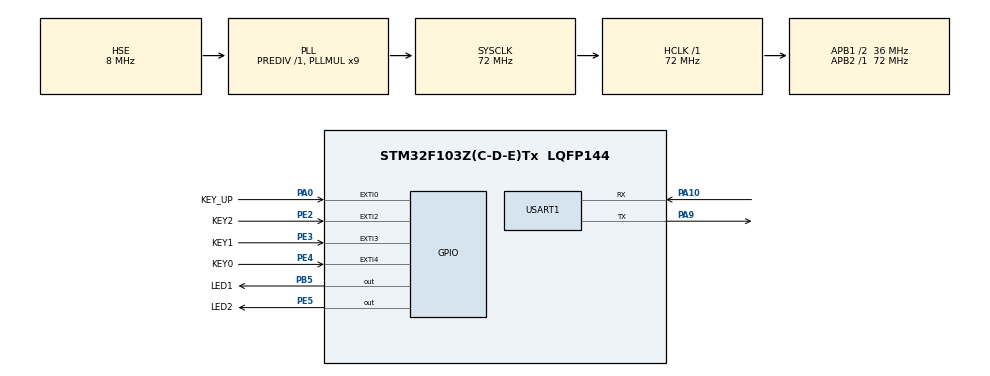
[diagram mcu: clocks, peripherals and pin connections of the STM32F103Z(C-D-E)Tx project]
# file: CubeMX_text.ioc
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FREERTOS.Tasks01=defaultTask,0,128,StartDefaultTask,Default,NULL,Dynamic,NULL,NULL
Mcu.Family=STM32F1
Mcu.Name=STM32F103Z(C-D-E)Tx
Mcu.Package=LQFP144
NVIC.EXTI0_IRQn=true\:14\:0\:true\:false\:true\:true\:true\:true\:true
NVIC.EXTI2_IRQn=true\:14\:0\:true\:false\:true\:true\:true\:true\:true
NVIC.EXTI3_IRQn=true\:14\:0\:true\:false\:true\:true\:true\:true\:true
NVIC.EXTI4_IRQn=true\:14\:0\:true\:false\:true\:true\:true\:true\:true
NVIC.PVD_IRQn=true\:14\:0\:true\:false\:true\:true\:true\:true\:true
NVIC.PriorityGroup=NVIC_PRIORITYGROUP_4
NVIC.TIM6_IRQn=true\:14\:0\:true\:false\:true\:true\:true\:true\:true
NVIC.TIM7_IRQn=true\:15\:0\:false\:false\:true\:false\:false\:true\:true
NVIC.TimeBase=TIM7_IRQn
NVIC.TimeBaseIP=TIM7
NVIC.USART1_IRQn=true\:10\:0\:true\:false\:true\:true\:true\:true\:true
OSC_IN.Mode=HSE-External-Oscillator
OSC_IN.Signal=RCC_OSC_IN
OSC_OUT.Mode=HSE-External-Oscillator
OSC_OUT.Signal=RCC_OSC_OUT
PA0-WKUP.GPIO_Label=KEY_UP
PA0-WKUP.GPIO_PuPd=GPIO_PULLDOWN
PA0-WKUP.Signal=GPXTI0
PA10.Mode=Asynchronous
PA10.Signal=USART1_RX
PA13.Mode=Serial_Wire
PA13.Signal=SYS_JTMS-SWDIO
PA14.Mode=Serial_Wire
PA14.Signal=SYS_JTCK-SWCLK
PA9.Mode=Asynchronous
PA9.Signal=USART1_TX
PB5.GPIO_Label=LED1
PB5.Signal=GPIO_Output
PE2.GPIO_Label=KEY2
PE2.GPIO_ModeDefaultEXTI=GPIO_MODE_IT_FALLING
PE2.GPIO_PuPd=GPIO_PULLUP
PE2.Signal=GPXTI2
PE3.GPIO_Label=KEY1
PE3.GPIO_ModeDefaultEXTI=GPIO_MODE_IT_FALLING
PE3.GPIO_PuPd=GPIO_PULLUP
PE3.Signal=GPXTI3
PE4.GPIO_Label=KEY0
PE4.GPIO_ModeDefaultEXTI=GPIO_MODE_IT_FALLING
PE4.GPIO_PuPd=GPIO_PULLUP
PE4.Signal=GPXTI4
PE5.GPIO_Label=LED2
PE5.Signal=GPIO_Output
ProjectManager.HeapSize=0x200
ProjectManager.StackSize=0x400
ProjectManager.TargetToolchain=MDK-ARM V5.32
RCC.AHBFreq_Value=72000000
RCC.APB1CLKDivider=RCC_HCLK_DIV2
RCC.APB1Freq_Value=36000000
RCC.APB1TimFreq_Value=72000000
RCC.APB2Freq_Value=72000000
RCC.APB2TimFreq_Value=72000000
RCC.HCLKFreq_Value=72000000
RCC.PLLMUL=RCC_PLL_MUL9
RCC.PLLSourceVirtual=RCC_PLLSOURCE_HSE
RCC.SYSCLKFreq_VALUE=72000000
RCC.SYSCLKSource=RCC_SYSCLKSOURCE_PLLCLK
RCC.USBFreq_Value=72000000
RTC.Date=30
RTC.Hours=21
RTC.Minutes=33
RTC.Month=RTC_MONTH_NOVEMBER
RTC.WeekDay=RTC_WEEKDAY_THURSDAY
RTC.Year=23
TIM6.Period=1000
TIM6.Prescaler=71
USART1.VirtualMode=VM_ASYNC
VP_FREERTOS_VS_CMSIS_V1.Mode=CMSIS_V1
VP_RTC_VS_RTC_Activate.Mode=RTC_Enabled
VP_RTC_VS_RTC_Calendar.Mode=RTC_Calendar
VP_SYS_VS_tim7.Mode=TIM7
VP_TIM6_VS_ClockSourceINT.Mode=Enable_Timer
board=custom

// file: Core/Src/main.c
/* USER CODE BEGIN Header */
/**
  ******************************************************************************
  * @file           : main.c
  * @brief          : Main program body
  ******************************************************************************
  * @attention
  *
  * Copyright (c) 2023 STMicroelectronics.
  * All rights reserved.
  *
  * This software is licensed under terms that can be found in the LICENSE file
  * in the root directory of this software component.
  * If no LICENSE file comes with this software, it is provided AS-IS.
  *
  ******************************************************************************
  */
/* USER CODE END Header */
#include "main.h"
#include "cmsis_os.h"
#include "rtc.h"
#include "tim.h"
#include "usart.h"
#include "gpio.h"

/* USER CODE BEGIN Includes */
#include "stdio.h"
/* USER CODE END Includes */

void SystemClock_Config(void);
void MX_FREERTOS_Init(void);

int main(void)
{

  /* MCU Configuration--------------------------------------------------------*/

  /* Reset of all peripherals, Initializes the Flash interface and the Systick. */
  HAL_Init();

  /* Configure the system clock */
  SystemClock_Config();

  /* Initialize all configured peripherals */
  MX_GPIO_Init();
  MX_USART1_UART_Init();
  MX_TIM6_Init();
  MX_RTC_Init();
  /* USER CODE BEGIN 2 */

	User_Key_Init();

  /* USER CODE END 2 */

  /* Call init function for freertos objects (in freertos.c) */
  MX_FREERTOS_Init();

  /* Start scheduler */
  osKernelStart();

  /* We should never get here as control is now taken by the scheduler */
  /* Infinite loop */
  while (1)
  {

    /* USER CODE BEGIN 3 */
//		HAL_RTC_GetTime(&hrtc,&RtcTime,RTC_FORMAT_BIN);
//		HAL_RTC_GetDate(&hrtc,&RtcDate,RTC_FORMAT_BIN);
//		HAL_GPIO_TogglePin(LED2_GPIO_Port, LED2_Pin);   //对LED2管脚的电平进行翻�?	也可以用HAL_GPIO_WritePin函数进行设置高低电平
//		printf("%4d-%d-%d %d:%d:%d\r\n",RtcDate.Year+2000,RtcDate.Month,RtcDate.Date,RtcTime.Hours,RtcTime.Minutes,RtcTime.Seconds);
//		HAL_Delay(1000);
  }
  /* USER CODE END 3 */
}

void SystemClock_Config(void)
{
  RCC_OscInitTypeDef RCC_OscInitStruct = {0};
  RCC_ClkInitTypeDef RCC_ClkInitStruct = {0};
  RCC_PeriphCLKInitTypeDef PeriphClkInit = {0};

  /** Initializes the RCC Oscillators according to the specified parameters
  * in the RCC_OscInitTypeDef structure.
  */
  RCC_OscInitStruct.OscillatorType = RCC_OSCILLATORTYPE_LSI|RCC_OSCILLATORTYPE_HSE;
  RCC_OscInitStruct.HSEState = RCC_HSE_ON;
  RCC_OscInitStruct.HSEPredivValue = RCC_HSE_PREDIV_DIV1;
  RCC_OscInitStruct.HSIState = RCC_HSI_ON;
  RCC_OscInitStruct.LSIState = RCC_LSI_ON;
  RCC_OscInitStruct.PLL.PLLState = RCC_PLL_ON;
  RCC_OscInitStruct.PLL.PLLSource = RCC_PLLSOURCE_HSE;
  RCC_OscInitStruct.PLL.PLLMUL = RCC_PLL_MUL9;
  if (HAL_RCC_OscConfig(&RCC_OscInitStruct) != HAL_OK)
  {
    Error_Handler();
  }

  /** Initializes the CPU, AHB and APB buses clocks
  */
  RCC_ClkInitStruct.ClockType = RCC_CLOCKTYPE_HCLK|RCC_CLOCKTYPE_SYSCLK
                              |RCC_CLOCKTYPE_PCLK1|RCC_CLOCKTYPE_PCLK2;
  RCC_ClkInitStruct.SYSCLKSource = RCC_SYSCLKSOURCE_PLLCLK;
  RCC_ClkInitStruct.AHBCLKDivider = RCC_SYSCLK_DIV1;
  RCC_ClkInitStruct.APB1CLKDivider = RCC_HCLK_DIV2;
  RCC_ClkInitStruct.APB2CLKDivider = RCC_HCLK_DIV1;

  if (HAL_RCC_ClockConfig(&RCC_ClkInitStruct, FLASH_LATENCY_2) != HAL_OK)
  {
    Error_Handler();
  }
  PeriphClkInit.PeriphClockSelection = RCC_PERIPHCLK_RTC;
  PeriphClkInit.RTCClockSelection = RCC_RTCCLKSOURCE_LSI;
  if (HAL_RCCEx_PeriphCLKConfig(&PeriphClkInit) != HAL_OK)
  {
    Error_Handler();
  }
}

void HAL_TIM_PeriodElapsedCallback(TIM_HandleTypeDef *htim)
{
  /* USER CODE BEGIN Callback 0 */
	static uint16_t key_release_time=0;

  /* USER CODE END Callback 0 */
  if (htim->Instance == TIM7) {
    HAL_IncTick();
  }
  /* USER CODE BEGIN Callback 1 */

	if (htim->Instance == TIM6) {
		if(HAL_GPIO_ReadPin(KEY0_GPIO_Port,KEY0_Pin)==0 && user_key.keyPressStatus[USER_DRV_KEY0_LEVEL] == USER_DRV_KEY_DOWM)
		{
				time++;
		}
		else if(HAL_GPIO_ReadPin(KEY0_GPIO_Port,KEY0_Pin)==1 && user_key.keyPressStatus[USER_DRV_KEY0_LEVEL] == USER_DRV_KEY_DOWM)
		{
			user_key.keyPressStatus[USER_DRV_KEY0_LEVEL] = USER_DRV_KEY_UP;
			if(time > 50) /*! 按下时间大于50ms视作为有效按�?	同时两次按下间隔大于50ms视作有效双击*/
			{
					user_key.keyPressDowmTime[user_key.KeyPressDowmCount] = time;
					user_key.KeyPressReleaseTime[user_key.KeyPressDowmCount] = key_release_time;
					user_key.KeyPressDowmCount++;
			}
			key_release_time = 0;
		}
		else if(HAL_GPIO_ReadPin(KEY0_GPIO_Port,KEY0_Pin)==1 && user_key.keyPressStatus[USER_DRV_KEY0_LEVEL] == USER_DRV_KEY_UP)
		{
			if(user_key.KeyPressDowmCount==2)
			{
				if(user_key.KeyPressReleaseTime[1] > 50 && user_key.KeyPressReleaseTime[1] < 300)
				{
					printf("key double click!!!\r\n");
				}
				user_key.KeyPressDowmCount = 0;
				HAL_TIM_Base_Stop_IT(&htim6);
			}
			if(key_release_time > 300)
			{
				if(user_key.keyPressDowmTime[0] > 50 && user_key.keyPressDowmTime[0] < 1500)
				{
					printf("key short press!!!\r\n");
				}
				else if(user_key.keyPressDowmTime[0] >= 1500)
				{
					printf("key long press!!!\r\n");
				}
				user_key.KeyPressDowmCount = 0;
				HAL_TIM_Base_Stop_IT(&htim6);
			}
			key_release_time++;//
			time = 0;
			__HAL_GPIO_EXTI_CLEAR_IT(KEY0_Pin);

		}
  }
  /* USER CODE END Callback 1 */
}

void Error_Handler(void)
{
  __disable_irq();
  while (1)
  {
  }
}

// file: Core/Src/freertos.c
/* USER CODE BEGIN Header */
/**
  ******************************************************************************
  * File Name          : freertos.c
  * Description        : Code for freertos applications
  ******************************************************************************
  * @attention
  *
  * Copyright (c) 2023 STMicroelectronics.
  * All rights reserved.
  *
  * This software is licensed under terms that can be found in the LICENSE file
  * in the root directory of this software component.
  * If no LICENSE file comes with this software, it is provided AS-IS.
  *
  ******************************************************************************
  */
/* USER CODE END Header */

#include "FreeRTOS.h"
#include "task.h"
#include "main.h"
#include "cmsis_os.h"

/* USER CODE BEGIN Includes */
#include "usart.h"
#include "rtc.h"
/* USER CODE END Includes */

/* USER CODE BEGIN PM */
static void delay_ms(uint32_t nms);
static void delay_us(uint32_t nus);
/* USER CODE END PM */

osThreadId defaultTaskHandle;

void StartDefaultTask(void const * argument);

void MX_FREERTOS_Init(void); /* (MISRA C 2004 rule 8.1) */

/* GetIdleTaskMemory prototype (linked to static allocation support) */
void vApplicationGetIdleTaskMemory( StaticTask_t **ppxIdleTaskTCBBuffer, StackType_t **ppxIdleTaskStackBuffer, uint32_t *pulIdleTaskStackSize );

/* USER CODE BEGIN GET_IDLE_TASK_MEMORY */
static StaticTask_t xIdleTaskTCBBuffer;
static StackType_t xIdleStack[configMINIMAL_STACK_SIZE];

void vApplicationGetIdleTaskMemory( StaticTask_t **ppxIdleTaskTCBBuffer, StackType_t **ppxIdleTaskStackBuffer, uint32_t *pulIdleTaskStackSize )
{
  *ppxIdleTaskTCBBuffer = &xIdleTaskTCBBuffer;
  *ppxIdleTaskStackBuffer = &xIdleStack[0];
  *pulIdleTaskStackSize = configMINIMAL_STACK_SIZE;
  /* place for user code */
}
/* USER CODE END GET_IDLE_TASK_MEMORY */

void MX_FREERTOS_Init(void) {

  /* Create the thread(s) */
  /* definition and creation of defaultTask */
  osThreadDef(defaultTask, StartDefaultTask, osPriorityNormal, 0, 128);
  defaultTaskHandle = osThreadCreate(osThread(defaultTask), NULL);

}

void StartDefaultTask(void const * argument)
{
  /* USER CODE BEGIN StartDefaultTask */
  /* Infinite loop */
  for(;;)
  {
//    osDelay(100);
		delay_ms(1000);
		HAL_RTC_GetTime(&hrtc,&RtcTime,RTC_FORMAT_BIN);
		HAL_RTC_GetDate(&hrtc,&RtcDate,RTC_FORMAT_BIN);
		HAL_GPIO_TogglePin(LED2_GPIO_Port, LED2_Pin);   //对LED2管脚的电平进行翻轿	也可以用HAL_GPIO_WritePin函数进行设置高低电平
		printf("%4d-%d-%d %d:%d:%d\r\n",RtcDate.Year+2000,RtcDate.Month,RtcDate.Date,RtcTime.Hours,RtcTime.Minutes,RtcTime.Seconds);
		printf("LOAD:%d\r\n",SysTick->LOAD);
		printf("VAL:%d\r\n",SysTick->VAL);
		printf("CALIB:%d\r\n",SysTick->CALIB);
		printf("CTRL:%d\r\n",SysTick->CTRL);
		printf("SystemCoreClock:%d\r\n",SystemCoreClock);
  }
  /* USER CODE END StartDefaultTask */
}

/* USER CODE BEGIN Application */

void delay_us(uint32_t nus)
{
       uint32_t ticks;
       uint32_t told,tnow,reload,tcnt=0;

       reload = SysTick->LOAD;                     //获取重装载寄存器值
       ticks = nus * (SystemCoreClock / 1000000);  //计数时间值
       told=SysTick->VAL;                          //获取当前数值寄存器值（开始时数值）

       while(1)
       {
              tnow=SysTick->VAL;          //获取当前数值寄存器值
              if(tnow!=told)              //当前值不等于开始值说明已在计数
              {

                     if(tnow<told)             //当前值小于开始数值，说明未计到0
                          tcnt+=told-tnow;     //计数值=开始值-当前值

                     else                  //当前值大于开始数值，说明已计到0并重新计数
                            tcnt+=reload-tnow+told;   //计数值=重装载值-当前值+开始值  （已
                                                      //从开始值计到0）

                     told=tnow;                //更新开始值
                     if(tcnt>=ticks)break;     //时间超过/等于要延迟的时间,则退出.
              }
       }
}
void delay_ms(uint32_t nms)
{
	uint32_t time;
	time = nms;
	while(time>0)
	{
			delay_us(1000);
			time--;
	}
}
/* USER CODE END Application */
